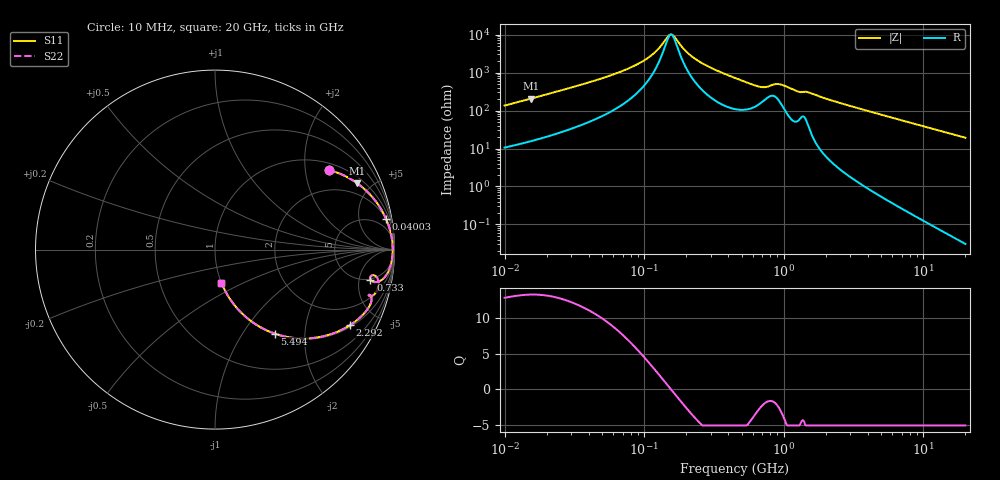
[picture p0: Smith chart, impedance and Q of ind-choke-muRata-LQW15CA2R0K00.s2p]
!Murata Part Number: LQW15CA2R0K00
!These Parameters are Measured in Series Mode Connection
!  o--[Z]--o
!Port1  Port2
!  o-------o
!Freq. Start=10[MHz] Stop=20[GHz], 401[Steps]
# Hz S RI R 50
!Freq.(Hz) S11(Real) S11(Imag) S21(Real) S21(Imag) S12(Real) S12(Imag) S22(Real) S22(Imag)
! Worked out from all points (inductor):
!   401 points, 10 MHz to 20 GHz, reference 50 ohm
!   read as one part in series: L = 2.11 uH near 10.39 MHz
!   highest Q = 13.2 at 15.48 MHz (marker M1), where L = 2.12 uH
!   self-resonance near 154.3 MHz
!   S11 on the Smith chart (normalised r, x): 10 MHz: 1.21, +2.69; 40.03 MHz: 2, +11; 733 MHz: 4.86, -7.28; 2.292 GHz: 1.08, -3.52; 5.494 GHz: 1.01, -1.41; 20 GHz: 1.00, -0.38
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1e7  0.6353 0.4437  0.3647 -0.4437  0.3647 -0.4437  0.6353 0.4437
1.548136e7  0.793 0.369  0.207 -0.369  0.207 -0.369  0.793 0.369
3.572091e7  0.944 0.1905  0.056 -0.1905  0.056 -0.1905  0.944 0.1905
4.003483e7  0.9535 0.17  0.0465 -0.17  0.0465 -0.17  0.9535 0.17
8.400176e7  0.9849 0.065  0.0151 -0.065  0.0151 -0.065  0.9849 0.065
1.075405e8  0.9884 0.0378  0.0116 -0.0378  0.0116 -0.0378  0.9884 0.0378
1.275983e8  0.9897 0.0201  0.0103 -0.0201  0.0103 -0.0201  0.9897 0.0201
1.485476e8  0.9902 0.00479  0.0098 -0.00479  0.0098 -0.00479  0.9902 0.00479
1.572618e8  0.9902 -0.000936  0.00978 0.000936  0.00978 0.000936  0.9902 -0.000936
1.975396e8  0.9894 -0.0242  0.0106 0.0242  0.0106 0.0242  0.9894 -0.0242
2.343837e8  0.9876 -0.0425  0.0124 0.0425  0.0124 0.0425  0.9876 -0.0425
4.472136e8  0.9622 -0.1291  0.0378 0.1291  0.0378 0.1291  0.9622 -0.1291
7.329628e8  0.8658 -0.1667  0.1342 0.1667  0.1342 0.1667  0.8658 -0.1667
9.206888e8  0.9034 -0.157  0.0966 0.157  0.0966 0.157  0.9034 -0.157
1.247826e9  0.8775 -0.2561  0.1225 0.2561  0.1225 0.2561  0.8775 -0.2561
1.597488e9  0.8662 -0.3036  0.1338 0.3036  0.1338 0.3036  0.8662 -0.3036
2.292115e9  0.7518 -0.4213  0.2482 0.4213  0.2482 0.4213  0.7518 -0.4213
3.548507e9  0.5485 -0.4924  0.4515 0.4924  0.4515 0.4924  0.5485 -0.4924
5.493573e9  0.3329 -0.4682  0.6671 0.4682  0.6671 0.4682  0.3329 -0.4682
5.706372e9  0.3161 -0.462  0.6839 0.462  0.6839 0.462  0.3161 -0.462
1.009107e10  0.128 -0.3325  0.872 0.3325  0.872 0.3325  0.128 -0.3325
2e10  0.0359 -0.1854  0.9641 0.1854  0.9641 0.1854  0.0359 -0.1854
